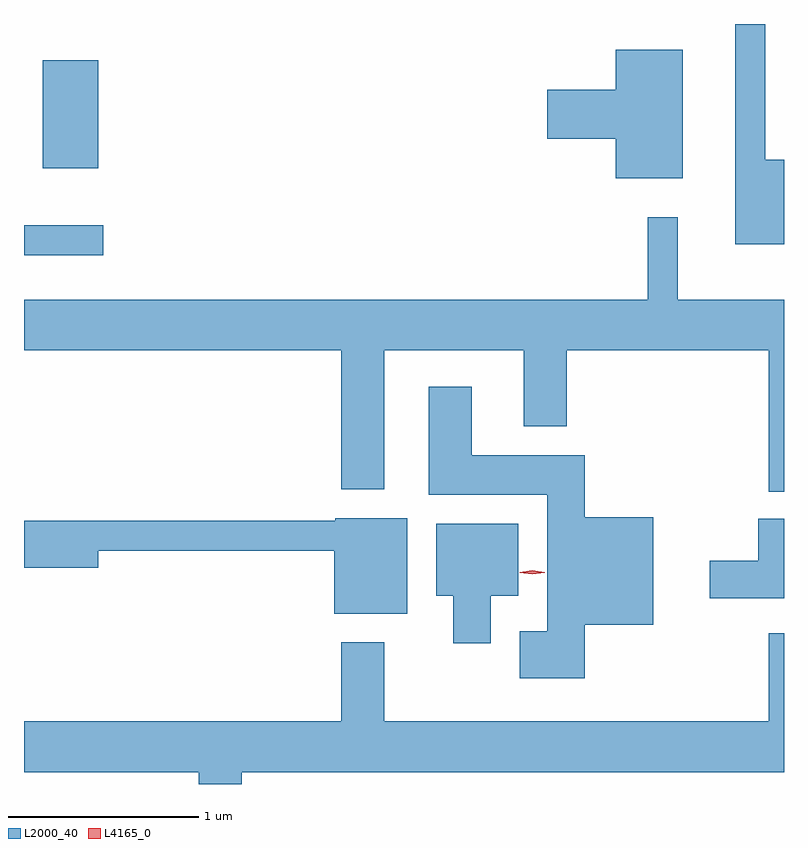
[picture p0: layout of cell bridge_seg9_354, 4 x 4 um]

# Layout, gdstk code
import gdstk
lib = gdstk.Library(unit=1e-6, precision=1e-09)
def R(c, l, rs):  # rectangles x0, y0, x1, y1
    for r in rs: c.add(gdstk.rectangle(r[:2], r[2:], *l))
def P(c, l, *ps):  # polygons
    for p in ps: c.add(gdstk.Polygon(p, *l))
L2000_40 = (2000, 40)
L4165_0 = (4165, 0)

bridge_seg9_354 = lib.new_cell('bridge_seg9_354')
R(bridge_seg9_354, L2000_40, [(1019.882,2012.296,1020.298,2012.454), (1019.981,2012.756,1020.274,2013.324)])
P(bridge_seg9_354, L2000_40, [(1023.882,2012.799),(1023.784,2012.799),(1023.784,2013.514),(1023.626,2013.514),(1023.626,2012.356),(1023.882,2012.356)],
  [(1023.349,2013.379),(1022.996,2013.379),(1022.996,2013.169),(1022.636,2013.169),(1022.636,2012.911),(1022.996,2012.911),(1022.996,2012.701),(1023.349,2012.701)],
  [(1023.882,2012.064),(1023.324,2012.064),(1023.324,2012.498),(1023.166,2012.498),(1023.166,2012.064),(1019.882,2012.064),(1019.882,2011.796),(1021.551,2011.796),(1021.551,2011.066),(1021.779,2011.066),(1021.779,2011.796),(1022.511,2011.796),(1022.511,2011.396),(1022.739,2011.396),(1022.739,2011.796),(1023.801,2011.796),(1023.801,2011.053),(1023.882,2011.053)],
  [(1022.834,2010.351),(1023.194,2010.351),(1023.194,2010.919),(1022.834,2010.919),(1022.834,2011.244),(1022.239,2011.244),(1022.239,2011.604),(1022.011,2011.604),(1022.011,2011.036),(1022.636,2011.036),(1022.636,2010.319),(1022.491,2010.319),(1022.491,2010.071),(1022.834,2010.071)],
  [(1021.899,2010.914),(1021.52,2010.914),(1021.52,2010.899),(1019.882,2010.899),(1019.882,2010.651),(1020.274,2010.651),(1020.274,2010.741),(1021.516,2010.741),(1021.516,2010.411),(1021.899,2010.411)],
  [(1023.882,2010.909),(1023.746,2010.909),(1023.746,2010.689),(1023.491,2010.689),(1023.491,2010.491),(1023.882,2010.491)],
  [(1022.339,2010.506),(1022.484,2010.506),(1022.484,2010.884),(1022.051,2010.884),(1022.051,2010.506),(1022.141,2010.506),(1022.141,2010.256),(1022.339,2010.256)],
  [(1021.029,2009.576),(1023.882,2009.576),(1023.882,2010.308),(1023.801,2010.308),(1023.801,2009.844),(1021.779,2009.844),(1021.779,2010.259),(1021.551,2010.259),(1021.551,2009.844),(1019.882,2009.844),(1019.882,2009.576),(1020.801,2009.576),(1020.801,2009.514),(1021.029,2009.514)])
P(bridge_seg9_354, L4165_0, [(1022.558,2010.618),(1022.492,2010.627),(1022.492,2010.628),(1022.492,2010.628),(1022.558,2010.638),(1022.623,2010.628),(1022.624,2010.628),(1022.623,2010.627)])

lib.write_gds('bridge_seg9_354.gds')
